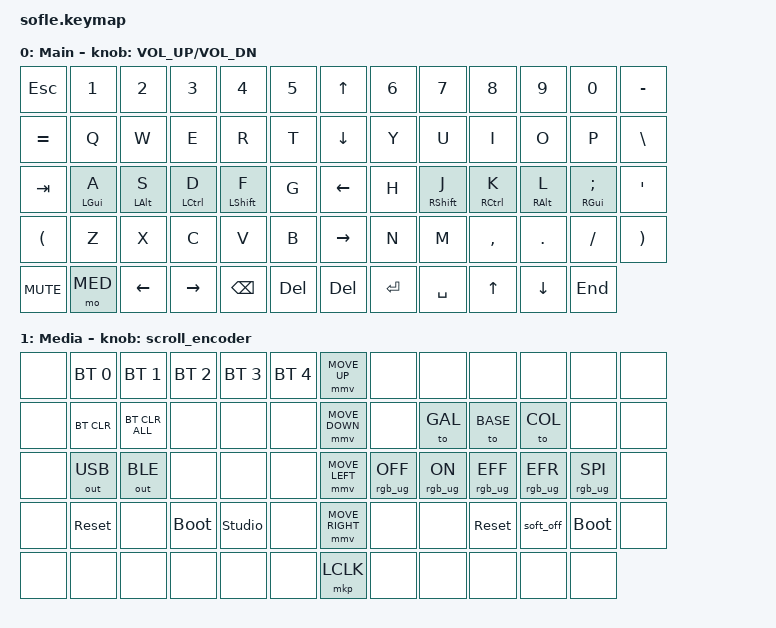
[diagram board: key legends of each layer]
#include <behaviors/mouse_keys.dtsi>
#include <dt-bindings/zmk/mouse.h>

#define ZMK_MOUSE_DEFAULT_MOVE_VAL 1200  // 600
#define ZMK_MOUSE_DEFAULT_SCRL_VAL 20    // 10

#include <behaviors.dtsi>
#include <dt-bindings/zmk/bt.h>
#include <dt-bindings/zmk/keys.h>
#include <dt-bindings/zmk/outputs.h>
//#include <dt-bindings/zmk/pointing.h>
#include <behaviors/mouse_keys.dtsi>
#include <dt-bindings/zmk/rgb.h>

#define U_MS_U &mmv MOVE_UP
#define U_MS_D &mmv MOVE_DOWN
#define U_MS_L &mmv MOVE_LEFT
#define U_MS_R &mmv MOVE_RIGHT

#define BASE    0
#define MED     1

/ {
    behaviors {
        mmv {
            acceleration-exponent = <1>;      // 1
            time-to-max-speed-ms = <900>;    // 40
            delay-ms = <0>;                   // 0
        };

        msc {
            acceleration-exponent = <1>;      // 0
            time-to-max-speed-ms = <400>;      // 500
            delay-ms = <0>;                   //   10
        };

        ht: hold_tap {
            label = "hold_tap";
            compatible = "zmk,behavior-hold-tap";
            #binding-cells = <2>;
            flavor = "tap-preferred";
            tapping-term-ms = <220>;
            quick-tap-ms = <150>;
            global-quick-tap;
            bindings = <&kp>, <&kp>;
        };
    };

    scroll_encoder: scroll_encoder {
        compatible = "zmk,behavior-sensor-rotate";
        #sensor-binding-cells = <0>;
        bindings = <&msc SCRL_DOWN>, <&msc SCRL_UP>;

        tap-ms = <30>;
    };

    combos {
        compatible = "zmk,combos";
    };

    keymap {
        compatible = "zmk,keymap";

        default_layer {
            bindings = <
&kp ESC     &kp N1      &kp N2      &kp N3       &kp N4        &kp N5         &kp UP_ARROW     &kp N6       &kp N7         &kp N8       &kp N9      &kp N0         &kp MINUS
&kp EQUAL   &kp Q       &kp W       &kp E        &kp R         &kp T          &kp DOWN_ARROW   &kp Y        &kp U          &kp I        &kp O       &kp P          &kp BSLH
&kp TAB     &ht LGUI A  &ht LALT S  &ht LCTRL D  &ht LSHFT F   &kp G          &kp LEFT_ARROW   &kp H        &ht RSHFT J    &ht RCTRL K  &ht RALT L  &ht RGUI SEMI  &kp SQT
&kp LPAR    &kp Z       &kp X       &kp C        &kp V         &kp B          &kp RIGHT_ARROW  &kp N        &kp M          &kp COMMA    &kp DOT     &kp FSLH       &kp RPAR
&kp C_MUTE  &mo MED     &kp LEFT    &kp RIGHT    &kp BSPC      &kp DEL        &kp DELETE       &kp RET      &kp SPACE      &kp UP       &kp DOWN    &kp END
            >;

            sensor-bindings = <&inc_dec_kp C_VOLUME_UP C_VOL_DN>;
            display-name = "Main";
        };

        med_layer {
            bindings = <
&none  &bt BT_SEL 0  &bt BT_SEL 1    &bt BT_SEL 2  &bt BT_SEL 3   &bt BT_SEL 4    &mmv MOVE_UP     &none            &none           &none            &none            &none            &none
&none  &bt BT_CLR    &bt BT_CLR_ALL  &none         &none          &none           &mmv MOVE_DOWN   &none            &to GAL         &to BASE         &to COL          &none            &none
&none  &out OUT_USB  &out OUT_BLE    &none         &none          &none           &mmv MOVE_LEFT   &rgb_ug RGB_OFF  &rgb_ug RGB_ON  &rgb_ug RGB_EFF  &rgb_ug RGB_EFR  &rgb_ug RGB_SPI  &none
&none  &sys_reset    &none           &bootloader   &studio_unlock &none           &mmv MOVE_RIGHT  &none            &none           &sys_reset       &soft_off        &bootloader      &none
&none  &none         &none           &none         &none          &none           &mkp LCLK        &none            &none           &none            &none            &none
            >;

            display-name = "Media";
            sensor-bindings = <&scroll_encoder>;
        };
    };
};
